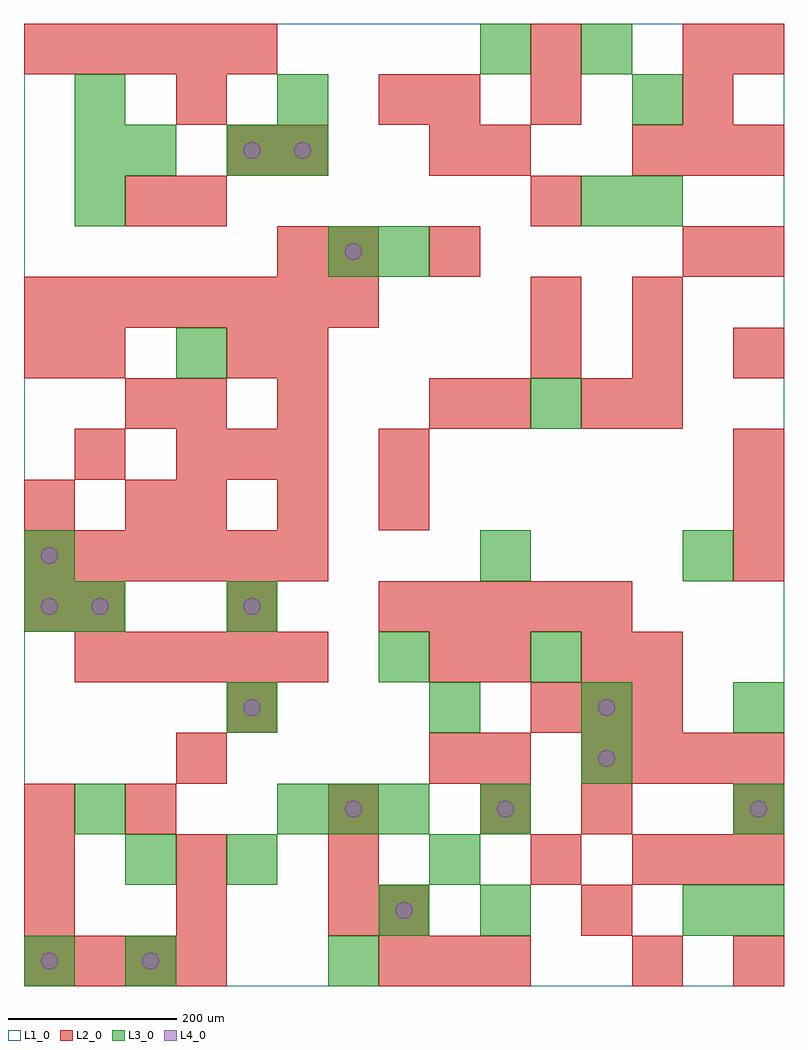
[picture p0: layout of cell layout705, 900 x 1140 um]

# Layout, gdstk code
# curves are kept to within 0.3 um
import gdstk
lib = gdstk.Library(unit=1e-6, precision=1e-09)
def R(c, l, rs):  # rectangles x0, y0, x1, y1
    for r in rs: c.add(gdstk.rectangle(r[:2], r[2:], *l))
def A(c, l, x, y, w, h, nx, ny, dx, dy):  # array of equal rectangles
    R(c, l, [(x+i*dx, y+j*dy, x+i*dx+w, y+j*dy+h) for i in range(nx) for j in range(ny)])
def P(c, l, *ps):  # polygons
    for p in ps: c.add(gdstk.Polygon(p, *l))
L1_0 = (1, 0)
L2_0 = (2, 0)
L3_0 = (3, 0)
L4_0 = (4, 0)

layout705 = lib.new_cell('layout705')
R(layout705, L1_0, [(0,0,900,1140)])
A(layout705, L2_0, 0, 0, 60, 60, 4, 1, 60, 0)
A(layout705, L2_0, 420, 0, 60, 60, 3, 1, 60, 0)
A(layout705, L2_0, 0, 60, 60, 60, 3, 2, 180, 60)
A(layout705, L2_0, 720, 120, 60, 60, 3, 2, 60, 840)
A(layout705, L2_0, 660, 240, 60, 60, 4, 1, 60, 0)
A(layout705, L2_0, 600, 300, 60, 60, 3, 1, 60, 0)
A(layout705, L2_0, 60, 360, 60, 60, 5, 1, 60, 0)
A(layout705, L2_0, 540, 360, 60, 60, 1, 3, 0, 300)
A(layout705, L2_0, 60, 420, 60, 60, 3, 1, 180, 0)
A(layout705, L2_0, 480, 420, 60, 60, 4, 1, 60, 0)
A(layout705, L2_0, 0, 480, 60, 60, 6, 1, 60, 0)
A(layout705, L2_0, 840, 480, 60, 60, 1, 3, 0, 60)
A(layout705, L2_0, 180, 540, 60, 60, 3, 1, 120, 0)
A(layout705, L2_0, 180, 600, 60, 60, 3, 1, 60, 0)
A(layout705, L2_0, 300, 720, 60, 60, 1, 3, 0, 120)
A(layout705, L2_0, 600, 720, 60, 60, 3, 1, 120, 0)
A(layout705, L2_0, 0, 780, 60, 60, 7, 1, 60, 0)
A(layout705, L2_0, 600, 780, 60, 60, 1, 3, 0, 120)
A(layout705, L2_0, 0, 1080, 60, 60, 5, 1, 60, 0)
R(layout705, L2_0, [(720,0,780,60), (840,0,900,60), (420,60,480,120), (660,60,720,120), (600,120,660,180), (0,180,60,240), (120,180,180,240), (360,180,420,240), (540,180,600,240), (660,180,720,240), (840,180,900,240), (180,240,240,300), (480,240,540,300), (540,240,600,300), (240,300,300,360), (480,360,540,420), (660,360,720,420), (720,360,780,420), (0,420,60,480), (0,540,60,600), (120,540,180,600), (60,600,120,660), (420,600,480,660), (120,660,180,720), (180,660,240,720), (300,660,360,720), (480,660,540,720), (660,660,720,720), (720,660,780,720), (0,720,60,780), (60,720,120,780), (240,720,300,780), (720,780,780,840), (360,840,420,900), (480,840,540,900), (780,840,840,900), (840,840,900,900), (120,900,180,960), (180,900,240,960), (240,960,300,1020), (480,960,540,1020), (180,1020,240,1080), (420,1020,480,1080), (480,1020,540,1080), (780,1020,840,1080), (600,1080,660,1140), (780,1080,840,1140), (840,1080,900,1140)])
A(layout705, L3_0, 300, 180, 60, 60, 3, 1, 60, 0)
A(layout705, L3_0, 480, 300, 60, 60, 3, 1, 180, 0)
A(layout705, L3_0, 60, 900, 60, 60, 1, 3, 0, 60)
R(layout705, L3_0, [(0,0,60,60), (120,0,180,60), (360,0,420,60), (420,60,480,120), (540,60,600,120), (780,60,840,120), (840,60,900,120), (120,120,180,180), (240,120,300,180), (480,120,540,180), (60,180,120,240), (540,180,600,240), (840,180,900,240), (660,240,720,300), (240,300,300,360), (420,360,480,420), (600,360,660,420), (0,420,60,480), (60,420,120,480), (240,420,300,480), (0,480,60,540), (540,480,600,540), (780,480,840,540), (600,660,660,720), (180,720,240,780), (360,840,420,900), (420,840,480,900), (660,900,720,960), (720,900,780,960), (120,960,180,1020), (240,960,300,1020), (300,960,360,1020), (300,1020,360,1080), (720,1020,780,1080), (540,1080,600,1140), (660,1080,720,1140)])
P(layout705, L4_0, [(40,30),(39.239,33.827),(37.071,37.071),(33.827,39.239),(30,40),(26.173,39.239),(22.929,37.071),(20.761,33.827),(20,30),(20.761,26.173),(22.929,22.929),(26.173,20.761),(30,20),(33.827,20.761),(37.071,22.929),(39.239,26.173)],
  [(40,450),(39.239,453.827),(37.071,457.071),(33.827,459.239),(30,460),(26.173,459.239),(22.929,457.071),(20.761,453.827),(20,450),(20.761,446.173),(22.929,442.929),(26.173,440.761),(30,440),(33.827,440.761),(37.071,442.929),(39.239,446.173)],
  [(40,510),(39.239,513.827),(37.071,517.071),(33.827,519.239),(30,520),(26.173,519.239),(22.929,517.071),(20.761,513.827),(20,510),(20.761,506.173),(22.929,502.929),(26.173,500.761),(30,500),(33.827,500.761),(37.071,502.929),(39.239,506.173)],
  [(100,450),(99.239,453.827),(97.071,457.071),(93.827,459.239),(90,460),(86.173,459.239),(82.929,457.071),(80.761,453.827),(80,450),(80.761,446.173),(82.929,442.929),(86.173,440.761),(90,440),(93.827,440.761),(97.071,442.929),(99.239,446.173)],
  [(160,30),(159.239,33.827),(157.071,37.071),(153.827,39.239),(150,40),(146.173,39.239),(142.929,37.071),(140.761,33.827),(140,30),(140.761,26.173),(142.929,22.929),(146.173,20.761),(150,20),(153.827,20.761),(157.071,22.929),(159.239,26.173)],
  [(280,330),(279.239,333.827),(277.071,337.071),(273.827,339.239),(270,340),(266.173,339.239),(262.929,337.071),(260.761,333.827),(260,330),(260.761,326.173),(262.929,322.929),(266.173,320.761),(270,320),(273.827,320.761),(277.071,322.929),(279.239,326.173)],
  [(280,450),(279.239,453.827),(277.071,457.071),(273.827,459.239),(270,460),(266.173,459.239),(262.929,457.071),(260.761,453.827),(260,450),(260.761,446.173),(262.929,442.929),(266.173,440.761),(270,440),(273.827,440.761),(277.071,442.929),(279.239,446.173)],
  [(280,990),(279.239,993.827),(277.071,997.071),(273.827,999.239),(270,1000),(266.173,999.239),(262.929,997.071),(260.761,993.827),(260,990),(260.761,986.173),(262.929,982.929),(266.173,980.761),(270,980),(273.827,980.761),(277.071,982.929),(279.239,986.173)],
  [(340,990),(339.239,993.827),(337.071,997.071),(333.827,999.239),(330,1000),(326.173,999.239),(322.929,997.071),(320.761,993.827),(320,990),(320.761,986.173),(322.929,982.929),(326.173,980.761),(330,980),(333.827,980.761),(337.071,982.929),(339.239,986.173)],
  [(400,210),(399.239,213.827),(397.071,217.071),(393.827,219.239),(390,220),(386.173,219.239),(382.929,217.071),(380.761,213.827),(380,210),(380.761,206.173),(382.929,202.929),(386.173,200.761),(390,200),(393.827,200.761),(397.071,202.929),(399.239,206.173)],
  [(400,870),(399.239,873.827),(397.071,877.071),(393.827,879.239),(390,880),(386.173,879.239),(382.929,877.071),(380.761,873.827),(380,870),(380.761,866.173),(382.929,862.929),(386.173,860.761),(390,860),(393.827,860.761),(397.071,862.929),(399.239,866.173)],
  [(460,90),(459.239,93.827),(457.071,97.071),(453.827,99.239),(450,100),(446.173,99.239),(442.929,97.071),(440.761,93.827),(440,90),(440.761,86.173),(442.929,82.929),(446.173,80.761),(450,80),(453.827,80.761),(457.071,82.929),(459.239,86.173)],
  [(580,210),(579.239,213.827),(577.071,217.071),(573.827,219.239),(570,220),(566.173,219.239),(562.929,217.071),(560.761,213.827),(560,210),(560.761,206.173),(562.929,202.929),(566.173,200.761),(570,200),(573.827,200.761),(577.071,202.929),(579.239,206.173)],
  [(700,270),(699.239,273.827),(697.071,277.071),(693.827,279.239),(690,280),(686.173,279.239),(682.929,277.071),(680.761,273.827),(680,270),(680.761,266.173),(682.929,262.929),(686.173,260.761),(690,260),(693.827,260.761),(697.071,262.929),(699.239,266.173)],
  [(700,330),(699.239,333.827),(697.071,337.071),(693.827,339.239),(690,340),(686.173,339.239),(682.929,337.071),(680.761,333.827),(680,330),(680.761,326.173),(682.929,322.929),(686.173,320.761),(690,320),(693.827,320.761),(697.071,322.929),(699.239,326.173)],
  [(880,210),(879.239,213.827),(877.071,217.071),(873.827,219.239),(870,220),(866.173,219.239),(862.929,217.071),(860.761,213.827),(860,210),(860.761,206.173),(862.929,202.929),(866.173,200.761),(870,200),(873.827,200.761),(877.071,202.929),(879.239,206.173)])

lib.write_gds('layout705.gds')
